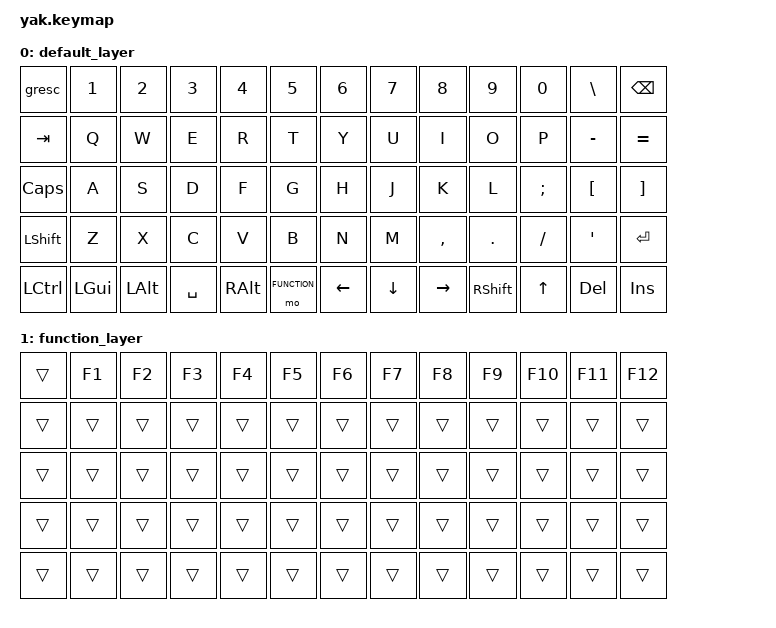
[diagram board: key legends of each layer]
#define FUNCTION 1

#include <behaviors.dtsi>
#include <dt-bindings/zmk/keys.h>

/ {
    keymap {
        compatible = "zmk,keymap";

        default_layer {
            bindings = <
&gresc &kp N1 &kp N2 &kp N3 &kp N4 &kp N5 &kp N6 &kp N7 &kp N8 &kp N9 &kp N0 &kp BSLH &kp BSPC
&kp TAB &kp Q &kp W &kp E &kp R &kp T &kp Y &kp U &kp I &kp O &kp P &kp MINUS &kp EQUAL
&kp CLCK &kp A &kp S &kp D &kp F &kp G &kp H &kp J &kp K &kp L &kp SEMI &kp LBKT &kp RBKT
&kp LSHFT &kp Z &kp X &kp C &kp V &kp B &kp N &kp M &kp COMMA &kp DOT &kp FSLH &kp SQT &kp ENTER
&kp LCTRL &kp LGUI &kp LALT &kp SPACE &kp RALT &mo FUNCTION &kp LEFT &kp DOWN &kp RIGHT &kp RSHIFT &kp UP &kp DEL &kp INS
            >;
        };

        function_layer {
            bindings = <
&trans &kp F1 &kp F2 &kp F3 &kp F4 &kp F5 &kp F6 &kp F7 &kp F8 &kp F9 &kp F10 &kp F11 &kp F12
&trans &trans &trans &trans &trans &trans &trans &trans &trans &trans &trans &trans &trans
&trans &trans &trans &trans &trans &trans &trans &trans &trans &trans &trans &trans &trans
&trans &trans &trans &trans &trans &trans &trans &trans &trans &trans &trans &trans &trans
&trans &trans &trans &trans &trans &trans &trans &trans &trans &trans &trans &trans &trans
            >;
        };
    };
};
